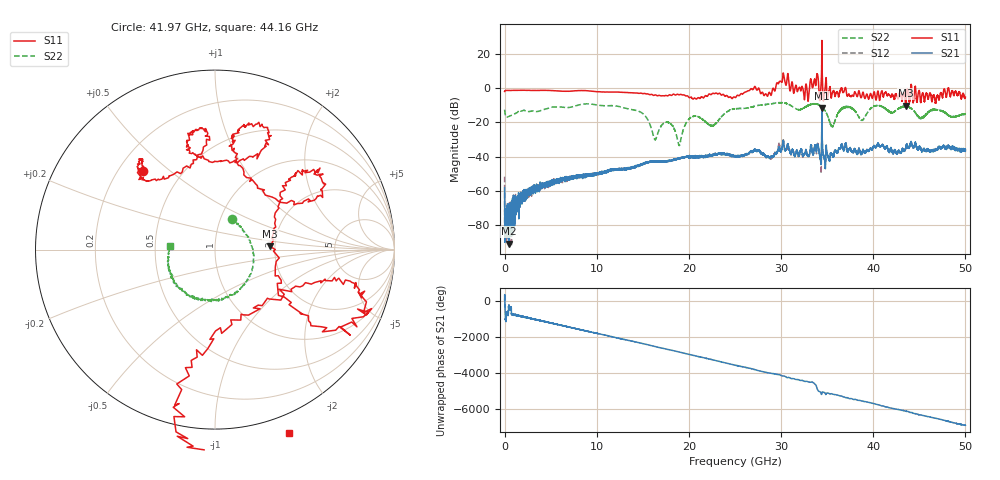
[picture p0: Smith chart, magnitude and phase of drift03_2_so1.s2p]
!Created with skrf (http://scikit-rf.org).
# Hz S RI R 50.0
!freq ReS11 ImS11 ReS21 ImS21 ReS12 ImS12 ReS22 ImS22
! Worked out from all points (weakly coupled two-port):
!   10001 points, 300 kHz to 50 GHz, reference 50 ohm
!   highest |S21| = -11.68 dB at 34.43 GHz (marker M1); lowest = -90.7 dB at 440.3 MHz (marker M2)
!   lowest |S11| = -10.2 dB at 43.53 GHz (marker M3), VSWR 1.89, Z = 94.4 + j3.61 ohm
!   |S11| at or under -10 dB: 43.52837 GHz to 43.53149 GHz (3.116 MHz wide, 0.00716 % of centre)
!   |S22| runs from -33.5 to -8.5 dB; largest |S21 - S12| = 0.081
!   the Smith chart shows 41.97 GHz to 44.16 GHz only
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300000  -0.7723 -0.1616  0.000483 0.00113  0.00141 0.00218  -0.2098 -0.1016
4.402974e8  -0.5336 0.6631  1.32e-05 2.62e-05  0.000225 8.02e-05  -0.0931 0.1147
2.330286e9  0.0829 -0.8509  -0.0011 0.000106  -0.000965 0.000169  0.0346 -0.206
3.940276e9  -0.0319 0.8526  0.00129 1.57e-05  0.00118 -0.000182  -0.0217 0.2199
8.33525e9  0.6671 -0.5171  -0.0027 -0.000943  -0.00257 -0.000761  0.2201 -0.2499
9.620242e9  -0.7928 -0.0881  0.00189 0.0023  0.00208 0.00223  -0.3319 0.0186
1.132523e10  0.7621 0.0277  -0.00328 -0.00242  -0.00316 -0.00236  0.2946 -0.0803
1.66702e10  -0.4011 0.4473  0.00431 -0.00604  0.00457 -0.00549  0.05 0.0148
2.500015e10  -0.1346 -0.5112  0.00847 0.00572  0.00845 0.00575  -0.2448 -0.0358
2.676014e10  0.0311 0.9609  -0.0127 -0.00502  -0.0131 -0.0052  0.2698 -0.067
2.821013e10  -0.1901 -0.5916  0.0113 0.00154  0.0111 0.00111  -0.3256 -0.0367
2.955012e10  -1.077 0.9219  -0.00731 -0.0113  -0.00676 -0.011  0.29 0.2261
3.011012e10  0.5203 1.417  -0.018 0.00663  -0.0165 0.00711  0.3518 -0.1256
3.069012e10  2.02 -1.191  0.0123 0.0187  0.0122 0.0144  0.0734 -0.3372
3.136011e10  0.0719 -0.7027  0.0127 9.9e-05  0.0131 -0.000225  -0.2423 -0.1274
3.33351e10  -0.1562 1.29  -0.0175 0.000831  -0.0171 0.00159  0.2979 -0.1578
3.443009e10  -21.44 -11.42  -0.0691 -0.2512  -0.1004 -0.1762  -0.1275 -0.2532
3.681508e10  0.7808 -0.0801  0.0075 0.0138  0.00731 0.0137  0.0596 -0.2699
4.167005e10  -0.642 0.1579  -0.0134 -0.00321  -0.0138 -0.00326  -0.0411 0.2105
4.353004e10  0.308 0.0173  0.0172 -0.00411  0.0176 -0.00346  -0.1782 -0.2353
4.822501e10  -0.8453 -0.2532  -0.0153 0.0137  -0.0144 0.0149  0.042 0.1458
5e10  0.5059 -0.1762  0.00193 -0.0148  0.00244 -0.0153  -0.1078 -0.1312
